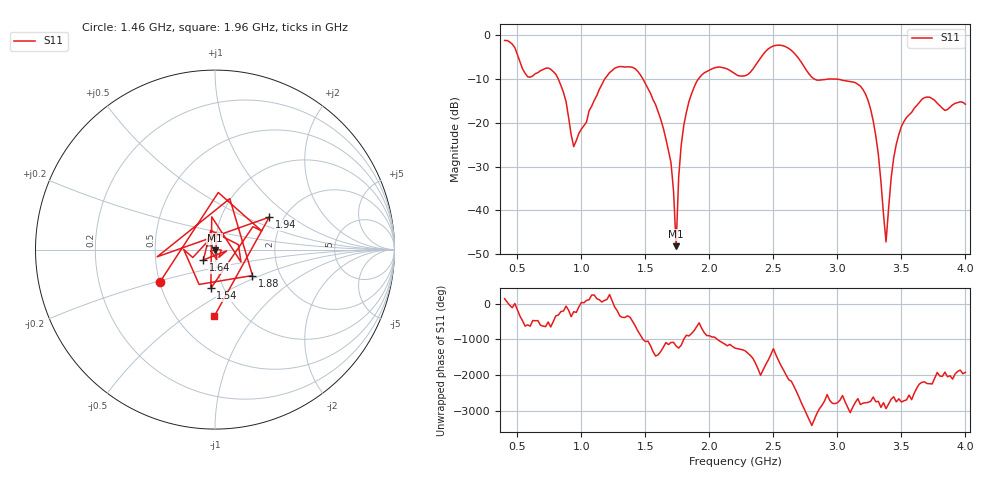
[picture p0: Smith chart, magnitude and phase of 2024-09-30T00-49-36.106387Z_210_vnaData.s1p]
!Created with skrf (http://scikit-rf.org).
# Hz S RI R 50.0
!freq ReS11 ImS11
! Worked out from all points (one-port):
!   181 points, 400 MHz to 4 GHz, reference 50 ohm
!   lowest |S11| = -48.2 dB at 1.74 GHz (marker M1), VSWR 1.01, Z = 49.9 - j0.379 ohm
!   |S11| at or under -10 dB: 819.1 MHz to 1.182 GHz (362.8 MHz wide, 36.3 % of centre); 1.481 GHz to 1.914 GHz (433.1 MHz wide, 25.5 % of centre); 2.988 GHz to end of sweep (the widest 3 of 4)
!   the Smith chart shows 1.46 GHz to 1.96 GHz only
!   S11 on the Smith chart (normalised r, x): 1.46 GHz: 0.50, -0.21; 1.54 GHz: 0.87, -0.39; 1.64 GHz: 0.87, -0.10; 1.88 GHz: 1.45, -0.45; 1.94 GHz: 1.69, +0.69; 1.96 GHz: 0.75, -0.65
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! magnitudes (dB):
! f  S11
! 400 MHz  -1.2
! 580 MHz  -9.5
! 740 MHz  -7.5
! 860 MHz  -13.1
! 940 MHz  -25.4
! 1.3 GHz  -7.1
! 1.46 GHz  -9.0
! 1.54 GHz  -13.3
! 1.64 GHz  -21.2
! 1.7 GHz  -29.1
! 1.74 GHz  -48.2
! 1.76 GHz  -32.4
! 1.8 GHz  -20.6
! 1.88 GHz  -11.9
! 1.94 GHz  -9.1
! 1.96 GHz  -8.6
! 2.2 GHz  -8.8
! 2.5 GHz  -2.5
! 2.66 GHz  -4.0
! 2.82 GHz  -10.0
! 3.1 GHz  -10.6
! 3.26 GHz  -16.9
! 3.32 GHz  -27.2
! 3.38 GHz  -47.2
! 3.44 GHz  -28.0
! 3.56 GHz  -18.2
! 3.7 GHz  -14.1
! 4 GHz  -15.7
